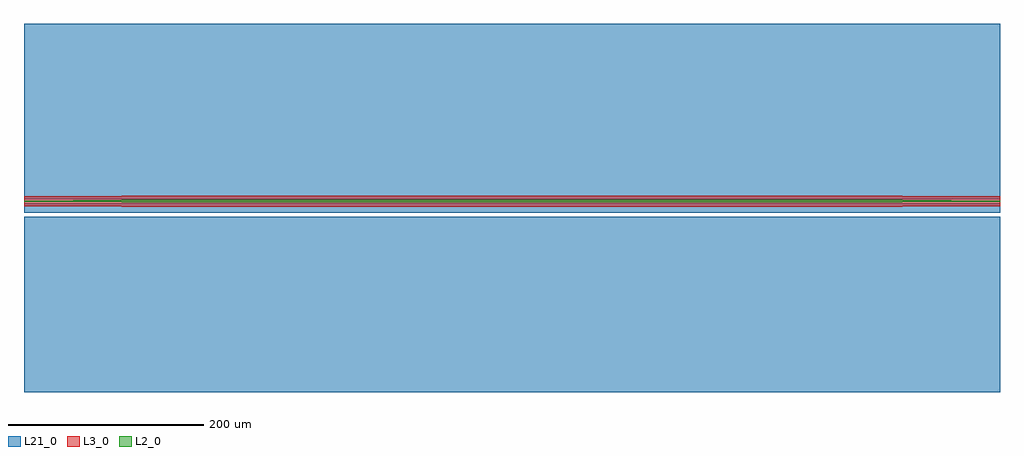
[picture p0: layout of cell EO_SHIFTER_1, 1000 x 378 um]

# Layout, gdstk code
from math import pi, radians
import gdstk
lib = gdstk.Library(unit=1e-6, precision=1e-09)
def R(c, l, rs):  # rectangles x0, y0, x1, y1
    for r in rs: c.add(gdstk.rectangle(r[:2], r[2:], *l))
def P(c, l, *ps):  # polygons
    for p in ps: c.add(gdstk.Polygon(p, *l))
L2_0 = (2, 0)
L3_0 = (3, 0)
L21_0 = (21, 0)

t_rib_rib_lin_1 = lib.new_cell('T_RIB_RIB_LIN_1')
P(t_rib_rib_lin_1, L2_0, [(0,0.5),(0,-0.5),(100,-1.25),(100,1.25)])
P(t_rib_rib_lin_1, L3_0, [(0,5),(0,0.5),(0,-0.5),(0,-5),(100,-5.75),(100,-1.25),(100,1.25),(100,5.75)])

wg_trace_1 = lib.new_cell('WG_TRACE_1')
R(wg_trace_1, L2_0, [(0,-1.25,800,1.25)])
P(wg_trace_1, L3_0, [(0,-5.75),(800,-5.75),(800,-1.25),(800,1.25),(800,5.75),(0,5.75),(0,1.25),(0,-1.25)])

eo_shifter_1_shifter_wg = lib.new_cell('EO_SHIFTER_1_SHIFTER_WG')
eo_shifter_1_shifter_wg.add(gdstk.Reference(t_rib_rib_lin_1, (0,7)))
eo_shifter_1_shifter_wg.add(gdstk.Reference(t_rib_rib_lin_1, (1000,7), rotation=pi, x_reflection=True))
eo_shifter_1_shifter_wg.add(gdstk.Reference(wg_trace_1, (100,7)))

trace_1 = lib.new_cell('TRACE_1')
R(trace_1, L21_0, [(0,-189,1000,-9), (0,-5,1000,5), (0,9,1000,189)])

eo_shifter_1_rf_line = lib.new_cell('EO_SHIFTER_1_RF_LINE')
eo_shifter_1_rf_line.add(gdstk.Reference(trace_1, (0,0)))

eo_shifter_1 = lib.new_cell('EO_SHIFTER_1')
eo_shifter_1.add(gdstk.Reference(eo_shifter_1_shifter_wg, (0,0)))
eo_shifter_1.add(gdstk.Reference(eo_shifter_1_rf_line, (0,0)))

lib.write_gds('EO_SHIFTER_1.gds')
